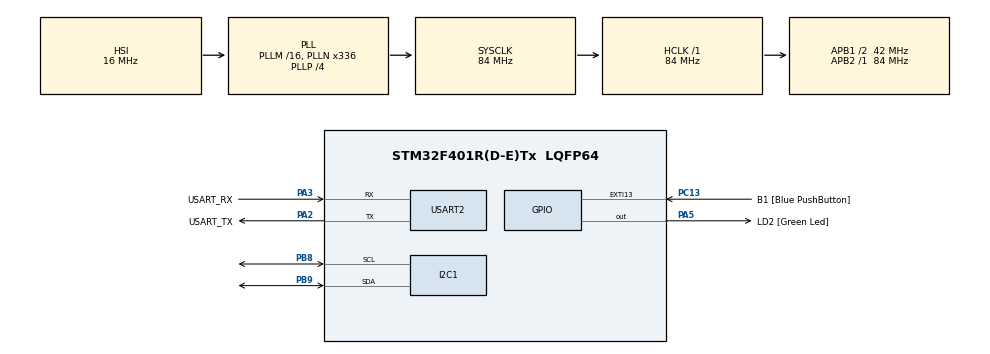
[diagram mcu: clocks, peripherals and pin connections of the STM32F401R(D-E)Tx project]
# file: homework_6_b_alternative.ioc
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Mcu.Family=STM32F4
Mcu.Name=STM32F401R(D-E)Tx
Mcu.Package=LQFP64
NVIC.PriorityGroup=NVIC_PRIORITYGROUP_0
NVIC.TIM2_IRQn=true\:0\:0\:false\:false\:true\:true\:true\:true
PA13.GPIO_Label=TMS
PA13.Mode=Serial_Wire
PA13.Signal=SYS_JTMS-SWDIO
PA14.GPIO_Label=TCK
PA14.Mode=Serial_Wire
PA14.Signal=SYS_JTCK-SWCLK
PA2.GPIO_Label=USART_TX
PA2.GPIO_Mode=GPIO_MODE_AF_PP
PA2.GPIO_PuPd=GPIO_NOPULL
PA2.GPIO_Speed=GPIO_SPEED_FREQ_LOW
PA2.Mode=Asynchronous
PA2.Signal=USART2_TX
PA3.GPIO_Label=USART_RX
PA3.GPIO_Mode=GPIO_MODE_AF_PP
PA3.GPIO_PuPd=GPIO_NOPULL
PA3.GPIO_Speed=GPIO_SPEED_FREQ_LOW
PA3.Mode=Asynchronous
PA3.Signal=USART2_RX
PA5.GPIO_Label=LD2 [Green Led]
PA5.GPIO_Mode=GPIO_MODE_OUTPUT_PP
PA5.GPIO_PuPd=GPIO_NOPULL
PA5.GPIO_Speed=GPIO_SPEED_FREQ_LOW
PA5.Signal=GPIO_Output
PB3.GPIO_Label=SWO
PB3.Signal=SYS_JTDO-SWO
PB8.Mode=I2C
PB8.Signal=I2C1_SCL
PB9.Mode=I2C
PB9.Signal=I2C1_SDA
PC13-ANTI_TAMP.GPIO_Label=B1 [Blue PushButton]
PC13-ANTI_TAMP.GPIO_ModeDefaultEXTI=GPIO_MODE_IT_FALLING
PC13-ANTI_TAMP.GPIO_PuPd=GPIO_NOPULL
PC13-ANTI_TAMP.Signal=GPXTI13
PC14-OSC32_IN.Mode=LSE-External-Oscillator
PC14-OSC32_IN.Signal=RCC_OSC32_IN
PC15-OSC32_OUT.Mode=LSE-External-Oscillator
PC15-OSC32_OUT.Signal=RCC_OSC32_OUT
PH0\ -\ OSC_IN.Mode=HSE-External-Clock-Source
PH0\ -\ OSC_IN.Signal=RCC_OSC_IN
PH1\ -\ OSC_OUT.Mode=HSE-External-Clock-Source
PH1\ -\ OSC_OUT.Signal=RCC_OSC_OUT
ProjectManager.HeapSize=0x200
ProjectManager.StackSize=0x400
ProjectManager.TargetToolchain=STM32CubeIDE
RCC.48MHZClocksFreq_Value=48000000
RCC.AHBFreq_Value=84000000
RCC.APB1CLKDivider=RCC_HCLK_DIV2
RCC.APB1Freq_Value=42000000
RCC.APB1TimFreq_Value=84000000
RCC.APB2Freq_Value=84000000
RCC.APB2TimFreq_Value=84000000
RCC.CortexFreq_Value=84000000
RCC.HCLKFreq_Value=84000000
RCC.HSE_VALUE=8000000
RCC.HSI_VALUE=16000000
RCC.PLLN=336
RCC.PLLP=RCC_PLLP_DIV4
RCC.PLLQ=7
RCC.SYSCLKFreq_VALUE=84000000
RCC.SYSCLKSource=RCC_SYSCLKSOURCE_PLLCLK
RCC.VCOOutputFreq_Value=336000000
TIM2.ClockDivision=TIM_CLOCKDIVISION_DIV1
TIM2.Period=84000000-1
USART2.VirtualMode=VM_ASYNC
VP_TIM2_VS_ClockSourceINT.Mode=Internal
board=NUCLEO-F401RE

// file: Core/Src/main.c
/* USER CODE BEGIN Header */
/**
  ******************************************************************************
  * @file           : main.c
  * @brief          : Main program body
  ******************************************************************************
  * @attention
  *
  * Copyright (c) 2022 STMicroelectronics.
  * All rights reserved.
  *
  * This software is licensed under terms that can be found in the LICENSE file
  * in the root directory of this software component.
  * If no LICENSE file comes with this software, it is provided AS-IS.
  *
  ******************************************************************************
  */
/* USER CODE END Header */
#include "main.h"

/* USER CODE BEGIN PTD */
typedef enum {false, true} bool;
/* USER CODE END PTD */

/* USER CODE BEGIN PD */
#define LM75_ADDRESS_AND_WRITE 0b10010000
#define LM75_ADDRESS_AND_READ 0b10010001
/* USER CODE END PD */

I2C_HandleTypeDef hi2c1;

TIM_HandleTypeDef htim2;

UART_HandleTypeDef huart2;

/* USER CODE BEGIN PV */
bool STARTUP_OVERFLOW = true;
uint8_t LM75_Temp_Reg_Address = 0x00;
/* USER CODE END PV */

void SystemClock_Config(void);
static void MX_GPIO_Init(void);
static void MX_USART2_UART_Init(void);
static void MX_I2C1_Init(void);
static void MX_TIM2_Init(void);

/* USER CODE BEGIN 0 */
void HAL_TIM_PeriodElapsedCallback(TIM_HandleTypeDef* calling_timer){
  if(calling_timer==&htim2){
    if(STARTUP_OVERFLOW==true){
      STARTUP_OVERFLOW=false;
    }
    else{
      acquire_temp();
    }
  }
}

void acquire_temp(){
  int8_t temperature[2];
  float temperature_value;
  char temperature_string[64];
  //temperature[0]=0b01101111;        //POS TEMP --> 111.250°C
  //temperature[1]=0b01000000;
  //temperature[0]=0b11101111;        //NEG TEMP --> -16.875°C
  //temperature[1]=0b00100000;
  HAL_I2C_Master_Receive(&hi2c1, LM75_ADDRESS_AND_READ, temperature, 2, 20);

  //SIMONE'S 0.125°C/bit SOLUTION
  temperature_value=((temperature[0]<<3)+((uint8_t)(temperature[1])>>5))*0.125;

  //CEDRIC'S 0.125°C/bit SOLUTION
  //temperature_value=temperature[0]+((float)(temperature[1]>>5))*0.125;

  snprintf(temperature_string, sizeof(temperature_string), "Temp = %.3f °C\r\n", temperature_value);
  HAL_UART_Transmit(&huart2, temperature_string, strlen(temperature_string), 100);
}
/* USER CODE END 0 */

int main(void)
{

  /* MCU Configuration--------------------------------------------------------*/

  /* Reset of all peripherals, Initializes the Flash interface and the Systick. */
  HAL_Init();

  /* Configure the system clock */
  SystemClock_Config();

  /* Initialize all configured peripherals */
  MX_GPIO_Init();
  MX_USART2_UART_Init();
  MX_I2C1_Init();
  MX_TIM2_Init();
  /* USER CODE BEGIN 2 */
  HAL_I2C_Master_Transmit(&hi2c1, LM75_ADDRESS_AND_WRITE, &LM75_Temp_Reg_Address, 1, 10);
  HAL_TIM_Base_Start_IT(&htim2);
  /* USER CODE END 2 */

  /* Infinite loop */
  while (1)
  {

  }
}

void SystemClock_Config(void)
{
  RCC_OscInitTypeDef RCC_OscInitStruct = {0};
  RCC_ClkInitTypeDef RCC_ClkInitStruct = {0};

  /** Configure the main internal regulator output voltage
  */
  __HAL_RCC_PWR_CLK_ENABLE();
  __HAL_PWR_VOLTAGESCALING_CONFIG(PWR_REGULATOR_VOLTAGE_SCALE2);

  /** Initializes the RCC Oscillators according to the specified parameters
  * in the RCC_OscInitTypeDef structure.
  */
  RCC_OscInitStruct.OscillatorType = RCC_OSCILLATORTYPE_HSI;
  RCC_OscInitStruct.HSIState = RCC_HSI_ON;
  RCC_OscInitStruct.HSICalibrationValue = RCC_HSICALIBRATION_DEFAULT;
  RCC_OscInitStruct.PLL.PLLState = RCC_PLL_ON;
  RCC_OscInitStruct.PLL.PLLSource = RCC_PLLSOURCE_HSI;
  RCC_OscInitStruct.PLL.PLLM = 16;
  RCC_OscInitStruct.PLL.PLLN = 336;
  RCC_OscInitStruct.PLL.PLLP = RCC_PLLP_DIV4;
  RCC_OscInitStruct.PLL.PLLQ = 7;
  if (HAL_RCC_OscConfig(&RCC_OscInitStruct) != HAL_OK)
  {
    Error_Handler();
  }

  /** Initializes the CPU, AHB and APB buses clocks
  */
  RCC_ClkInitStruct.ClockType = RCC_CLOCKTYPE_HCLK|RCC_CLOCKTYPE_SYSCLK
                              |RCC_CLOCKTYPE_PCLK1|RCC_CLOCKTYPE_PCLK2;
  RCC_ClkInitStruct.SYSCLKSource = RCC_SYSCLKSOURCE_PLLCLK;
  RCC_ClkInitStruct.AHBCLKDivider = RCC_SYSCLK_DIV1;
  RCC_ClkInitStruct.APB1CLKDivider = RCC_HCLK_DIV2;
  RCC_ClkInitStruct.APB2CLKDivider = RCC_HCLK_DIV1;

  if (HAL_RCC_ClockConfig(&RCC_ClkInitStruct, FLASH_LATENCY_2) != HAL_OK)
  {
    Error_Handler();
  }
}

static void MX_I2C1_Init(void)
{

  hi2c1.Instance = I2C1;
  hi2c1.Init.ClockSpeed = 100000;
  hi2c1.Init.DutyCycle = I2C_DUTYCYCLE_2;
  hi2c1.Init.OwnAddress1 = 0;
  hi2c1.Init.AddressingMode = I2C_ADDRESSINGMODE_7BIT;
  hi2c1.Init.DualAddressMode = I2C_DUALADDRESS_DISABLE;
  hi2c1.Init.OwnAddress2 = 0;
  hi2c1.Init.GeneralCallMode = I2C_GENERALCALL_DISABLE;
  hi2c1.Init.NoStretchMode = I2C_NOSTRETCH_DISABLE;
  if (HAL_I2C_Init(&hi2c1) != HAL_OK)
  {
    Error_Handler();
  }

}

static void MX_TIM2_Init(void)
{

  TIM_ClockConfigTypeDef sClockSourceConfig = {0};
  TIM_MasterConfigTypeDef sMasterConfig = {0};

  htim2.Instance = TIM2;
  htim2.Init.Prescaler = 0;
  htim2.Init.CounterMode = TIM_COUNTERMODE_UP;
  htim2.Init.Period = 84000000-1;
  htim2.Init.ClockDivision = TIM_CLOCKDIVISION_DIV1;
  htim2.Init.AutoReloadPreload = TIM_AUTORELOAD_PRELOAD_DISABLE;
  if (HAL_TIM_Base_Init(&htim2) != HAL_OK)
  {
    Error_Handler();
  }
  sClockSourceConfig.ClockSource = TIM_CLOCKSOURCE_INTERNAL;
  if (HAL_TIM_ConfigClockSource(&htim2, &sClockSourceConfig) != HAL_OK)
  {
    Error_Handler();
  }
  sMasterConfig.MasterOutputTrigger = TIM_TRGO_RESET;
  sMasterConfig.MasterSlaveMode = TIM_MASTERSLAVEMODE_DISABLE;
  if (HAL_TIMEx_MasterConfigSynchronization(&htim2, &sMasterConfig) != HAL_OK)
  {
    Error_Handler();
  }

}

static void MX_USART2_UART_Init(void)
{

  huart2.Instance = USART2;
  huart2.Init.BaudRate = 115200;
  huart2.Init.WordLength = UART_WORDLENGTH_8B;
  huart2.Init.StopBits = UART_STOPBITS_1;
  huart2.Init.Parity = UART_PARITY_NONE;
  huart2.Init.Mode = UART_MODE_TX_RX;
  huart2.Init.HwFlowCtl = UART_HWCONTROL_NONE;
  huart2.Init.OverSampling = UART_OVERSAMPLING_16;
  if (HAL_UART_Init(&huart2) != HAL_OK)
  {
    Error_Handler();
  }

}

static void MX_GPIO_Init(void)
{
  GPIO_InitTypeDef GPIO_InitStruct = {0};

  /* GPIO Ports Clock Enable */
  __HAL_RCC_GPIOC_CLK_ENABLE();
  __HAL_RCC_GPIOH_CLK_ENABLE();
  __HAL_RCC_GPIOA_CLK_ENABLE();
  __HAL_RCC_GPIOB_CLK_ENABLE();

  /*Configure GPIO pin Output Level */
  HAL_GPIO_WritePin(LD2_GPIO_Port, LD2_Pin, GPIO_PIN_RESET);

  /*Configure GPIO pin : B1_Pin */
  GPIO_InitStruct.Pin = B1_Pin;
  GPIO_InitStruct.Mode = GPIO_MODE_IT_FALLING;
  GPIO_InitStruct.Pull = GPIO_NOPULL;
  HAL_GPIO_Init(B1_GPIO_Port, &GPIO_InitStruct);

  /*Configure GPIO pin : LD2_Pin */
  GPIO_InitStruct.Pin = LD2_Pin;
  GPIO_InitStruct.Mode = GPIO_MODE_OUTPUT_PP;
  GPIO_InitStruct.Pull = GPIO_NOPULL;
  GPIO_InitStruct.Speed = GPIO_SPEED_FREQ_LOW;
  HAL_GPIO_Init(LD2_GPIO_Port, &GPIO_InitStruct);

}

void Error_Handler(void)
{
  __disable_irq();
  while (1)
  {
  }
}
